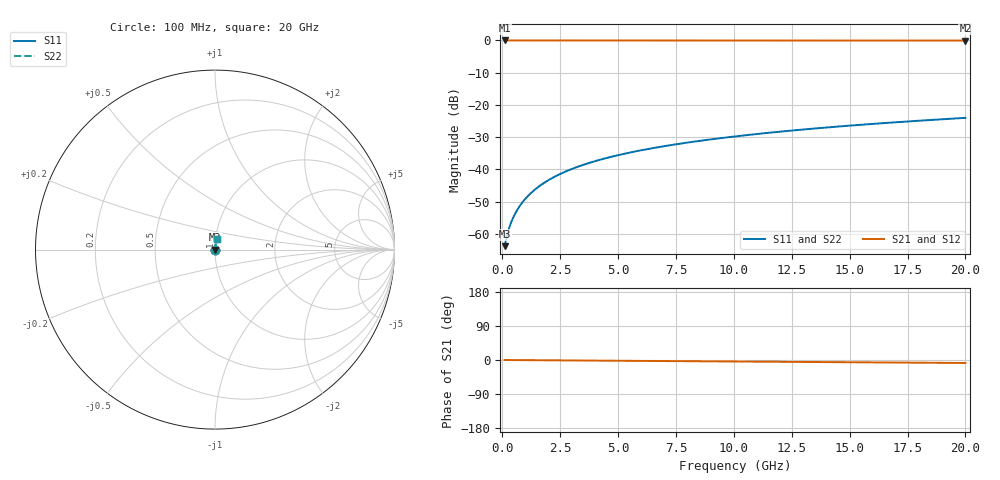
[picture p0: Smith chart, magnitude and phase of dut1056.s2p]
! Touchstone file exported from HFSS 2026.1.0
!  File:  C:/ffzhzh/LocalFiles/Ansys_Project_Files/temp_train_TMRDL_1056_1783160479_22436.aedt
!  Generated:  06:22:28 PM Jul  4, 2026
!  Design:  TMRDL
!  Project:  temp_train_TMRDL_1056_1783160479_22436
! Variables:
!  h_bsmrdl = 2um
!  h_ox = 20um
!  h_rdl = 5um
!  h_sub = 80um
!  h_tmrdl = 4.87um
!  h_tsv = 80um
!  h_via = 3um
!  l_bsmrdl = 300um
!  l_sub = 500.81um
!  l_tmrdl = 100.81um
!  m_sub = 200um
!  pitch = 36.89um
!  r_tsv = 6um
!  s_tmrdl = 10um
!  w_bsmrdl = 18um
!  w_sub = 500um
!  w_tmrdl = 20.83um
!  x_tsv_center1 = 111.225um
!  x_tsv_center2 = 429.225um
!  x_tsv_center3 = 550.865um
!  x_tsv_center4 = 868.865um
!  x_tsv_center5 = 990.505um
!  x_tsv_center6 = 1308.505um
# GHz S MA R 50.000000
! Terminal data exported
! Port[1] = TM_RDL1_1_T1
! Port[2] = TM_RDL1_1_T2
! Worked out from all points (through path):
!   200 points, 100 MHz to 20 GHz, reference 50 ohm
!   highest |S21| = 0.00 dB at 100 MHz (marker M1); lowest = 0.0 dB at 20 GHz (marker M2)
!   group delay of S21, straight-line fit = 1.09 ps
!   lowest |S11| = -63.9 dB at 100 MHz (marker M3), VSWR 1.00, Z = 50.1 + j0.0386 ohm
!   |S11| at or under -10 dB: start of sweep to end of sweep
!   |S22| runs from -63.9 to -24.0 dB; largest |S21 - S12| = 4.6e-15
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0.1  0.0006413 37.0  0.9995 -0.0  0.9995 -0.0  0.0006413 37.0
! Gamma 0 0 0 0
! Port Impedance 50 0 50 0
0.2  0.0009295 54.0  0.9995 -0.1  0.9995 -0.1  0.0009295 54.0
0.3  0.001243 62.2  0.9994 -0.1  0.9994 -0.1  0.001243 62.2
0.4  0.001559 67.0  0.9994 -0.2  0.9994 -0.2  0.001559 67.0
0.5  0.001877 70.3  0.9994 -0.2  0.9994 -0.2  0.001877 70.3
0.6  0.002197 72.8  0.9994 -0.2  0.9994 -0.2  0.002197 72.8
0.8  0.002844 76.2  0.9993 -0.3  0.9993 -0.3  0.002844 76.2
1.1  0.003827 79.1  0.9993 -0.4  0.9993 -0.4  0.003827 79.1
1.3  0.004488 80.3  0.9993 -0.5  0.9993 -0.5  0.004488 80.3
1.6  0.005482 81.5  0.9992 -0.7  0.9992 -0.7  0.005482 81.5
2.1  0.007139 82.7  0.9992 -0.9  0.9992 -0.9  0.007139 82.7
2.7  0.009119 83.3  0.9991 -1.1  0.9991 -1.1  0.009119 83.3
3.5  0.01174 83.6  0.9989 -1.4  0.9989 -1.4  0.01174 83.6
4.2  0.014 83.7  0.9988 -1.7  0.9988 -1.7  0.014 83.7
5  0.01657 83.6  0.9986 -2.0  0.9986 -2.0  0.01657 83.6
5.9  0.01943 83.5  0.9984 -2.4  0.9984 -2.4  0.01943 83.5
6.8  0.02226 83.3  0.9982 -2.7  0.9982 -2.7  0.02226 83.3
8.3  0.02695 83.0  0.9979 -3.3  0.9979 -3.3  0.02695 83.0
10.1  0.03254 82.6  0.9975 -4.0  0.9975 -4.0  0.03254 82.6
13.4  0.04272 81.7  0.9968 -5.3  0.9968 -5.3  0.04272 81.7
16.7  0.05283 80.7  0.9961 -6.6  0.9961 -6.6  0.05283 80.7
20  0.06287 79.6  0.9952 -7.9  0.9952 -7.9  0.06287 79.6
